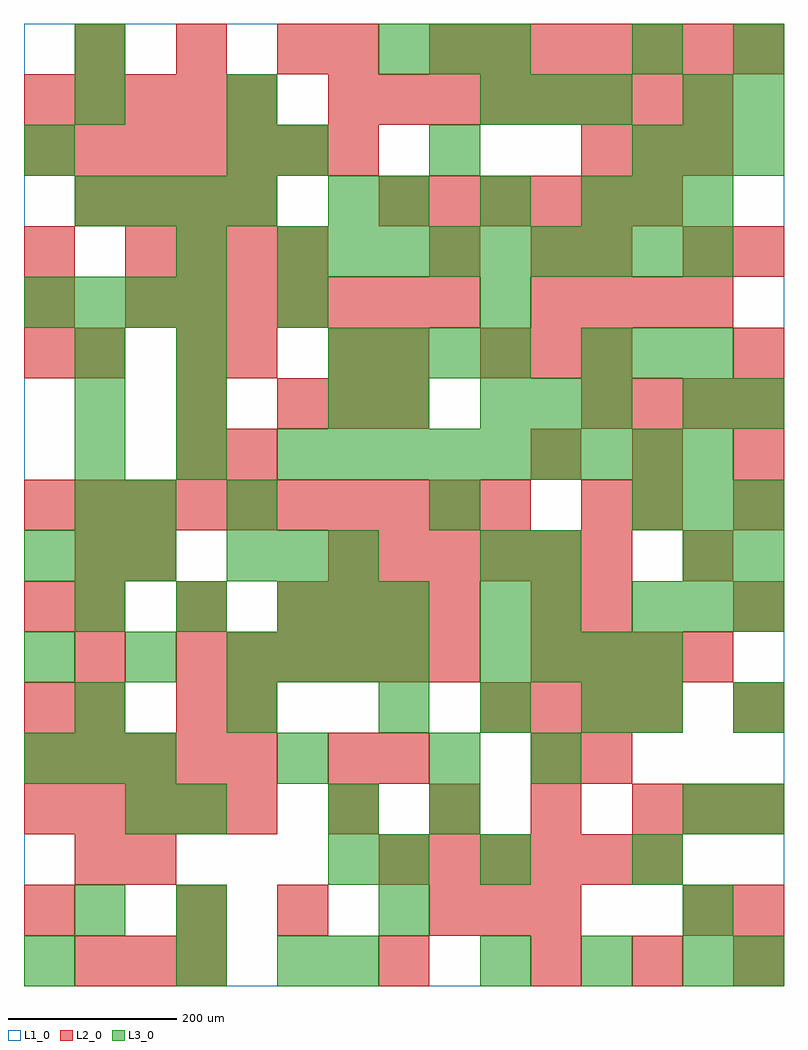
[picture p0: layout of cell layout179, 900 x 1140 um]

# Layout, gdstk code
import gdstk
lib = gdstk.Library(unit=1e-6, precision=1e-09)
def R(c, l, rs):  # rectangles x0, y0, x1, y1
    for r in rs: c.add(gdstk.rectangle(r[:2], r[2:], *l))
def A(c, l, x, y, w, h, nx, ny, dx, dy):  # array of equal rectangles
    R(c, l, [(x+i*dx, y+j*dy, x+i*dx+w, y+j*dy+h) for i in range(nx) for j in range(ny)])
L1_0 = (1, 0)
L2_0 = (2, 0)
L3_0 = (3, 0)

layout179 = lib.new_cell('layout179')
R(layout179, L1_0, [(0,0,900,1140)])
A(layout179, L2_0, 60, 0, 60, 60, 3, 1, 60, 0)
A(layout179, L2_0, 600, 0, 60, 60, 3, 2, 120, 600)
A(layout179, L2_0, 480, 60, 60, 60, 3, 1, 60, 0)
A(layout179, L2_0, 840, 60, 60, 60, 1, 5, 0, 120)
A(layout179, L2_0, 420, 120, 60, 60, 6, 2, 60, 780)
A(layout179, L2_0, 0, 180, 60, 60, 5, 2, 60, 60)
A(layout179, L2_0, 360, 180, 60, 60, 4, 1, 120, 0)
A(layout179, L2_0, 540, 300, 60, 60, 4, 1, 60, 0)
A(layout179, L2_0, 180, 360, 60, 60, 6, 1, 60, 0)
A(layout179, L2_0, 600, 360, 60, 60, 4, 2, 60, 420)
A(layout179, L2_0, 60, 420, 60, 60, 3, 2, 120, 660)
A(layout179, L2_0, 360, 420, 60, 60, 3, 1, 60, 0)
A(layout179, L2_0, 360, 480, 60, 60, 6, 1, 60, 0)
A(layout179, L2_0, 0, 540, 60, 60, 10, 1, 60, 0)
A(layout179, L2_0, 180, 600, 60, 60, 1, 3, 0, 60)
A(layout179, L2_0, 300, 660, 60, 60, 3, 1, 60, 0)
A(layout179, L2_0, 660, 660, 60, 60, 4, 1, 60, 0)
A(layout179, L2_0, 0, 720, 60, 60, 1, 3, 0, 60)
A(layout179, L2_0, 540, 720, 60, 60, 3, 1, 60, 0)
A(layout179, L2_0, 120, 780, 60, 60, 7, 1, 60, 0)
A(layout179, L2_0, 120, 840, 60, 60, 4, 1, 60, 0)
A(layout179, L2_0, 60, 900, 60, 60, 4, 1, 60, 0)
A(layout179, L2_0, 0, 960, 60, 60, 7, 1, 60, 0)
A(layout179, L2_0, 660, 960, 60, 60, 3, 1, 60, 0)
A(layout179, L2_0, 0, 1020, 60, 60, 5, 1, 60, 0)
A(layout179, L2_0, 360, 1020, 60, 60, 8, 1, 60, 0)
A(layout179, L2_0, 480, 1080, 60, 60, 7, 1, 60, 0)
R(layout179, L2_0, [(420,0,480,60), (0,60,60,120), (180,60,240,120), (300,60,360,120), (780,60,840,120), (60,120,120,180), (120,120,180,180), (780,180,840,240), (360,240,420,300), (420,240,480,300), (600,240,660,300), (660,240,720,300), (0,300,60,360), (60,300,120,360), (180,300,240,360), (240,300,300,360), (60,360,120,420), (0,420,60,480), (600,420,660,480), (660,420,720,480), (60,480,120,540), (120,480,180,540), (780,480,840,540), (660,540,720,600), (720,540,780,600), (240,600,300,660), (60,720,120,780), (240,720,300,780), (360,720,420,780), (420,720,480,780), (840,720,900,780), (480,840,540,900), (600,840,660,900), (660,840,720,900), (780,840,840,900), (840,840,900,900), (360,1080,420,1140)])
A(layout179, L3_0, 540, 0, 60, 60, 3, 1, 120, 0)
A(layout179, L3_0, 360, 180, 60, 60, 1, 4, 0, 240)
A(layout179, L3_0, 0, 240, 60, 60, 3, 2, 60, 240)
A(layout179, L3_0, 60, 300, 60, 60, 3, 1, 180, 0)
A(layout179, L3_0, 0, 360, 60, 60, 3, 1, 120, 0)
A(layout179, L3_0, 300, 360, 60, 60, 3, 1, 60, 0)
A(layout179, L3_0, 540, 360, 60, 60, 4, 1, 60, 0)
A(layout179, L3_0, 60, 420, 60, 60, 3, 2, 120, 180)
A(layout179, L3_0, 720, 420, 60, 60, 3, 2, 60, 540)
A(layout179, L3_0, 240, 480, 60, 60, 3, 1, 60, 0)
A(layout179, L3_0, 240, 540, 60, 60, 3, 1, 240, 0)
A(layout179, L3_0, 360, 600, 60, 60, 8, 1, 60, 0)
A(layout179, L3_0, 540, 660, 60, 60, 3, 2, 60, 360)
A(layout179, L3_0, 360, 720, 60, 60, 4, 1, 60, 0)
A(layout179, L3_0, 660, 720, 60, 60, 3, 1, 60, 0)
A(layout179, L3_0, 0, 780, 60, 60, 4, 1, 60, 0)
A(layout179, L3_0, 300, 840, 60, 60, 9, 1, 60, 0)
A(layout179, L3_0, 60, 900, 60, 60, 4, 1, 60, 0)
A(layout179, L3_0, 420, 900, 60, 60, 3, 1, 120, 0)
A(layout179, L3_0, 420, 1080, 60, 60, 3, 1, 60, 0)
R(layout179, L3_0, [(0,0,60,60), (180,0,240,60), (300,0,360,60), (360,0,420,60), (840,0,900,60), (60,60,120,120), (180,60,240,120), (420,60,480,120), (780,60,840,120), (360,120,420,180), (420,120,480,180), (540,120,600,180), (720,120,780,180), (120,180,180,240), (180,180,240,240), (480,180,540,240), (780,180,840,240), (840,180,900,240), (300,240,360,300), (480,240,540,300), (600,240,660,300), (540,300,600,360), (660,300,720,360), (720,300,780,360), (840,300,900,360), (420,420,480,480), (540,420,600,480), (600,420,660,480), (540,480,600,540), (600,480,660,540), (780,480,840,540), (840,480,900,540), (60,540,120,600), (120,540,180,600), (780,540,840,600), (840,540,900,600), (60,660,120,720), (180,660,240,720), (420,660,480,720), (780,660,840,720), (840,660,900,720), (60,720,120,780), (180,720,240,780), (300,780,360,840), (540,780,600,840), (180,840,240,900), (720,900,780,960), (780,900,840,960), (0,960,60,1020), (240,960,300,1020), (300,960,360,1020), (480,960,540,1020), (60,1020,120,1080), (240,1020,300,1080), (780,1020,840,1080), (840,1020,900,1080), (60,1080,120,1140), (720,1080,780,1140), (840,1080,900,1140)])

lib.write_gds('layout179.gds')
